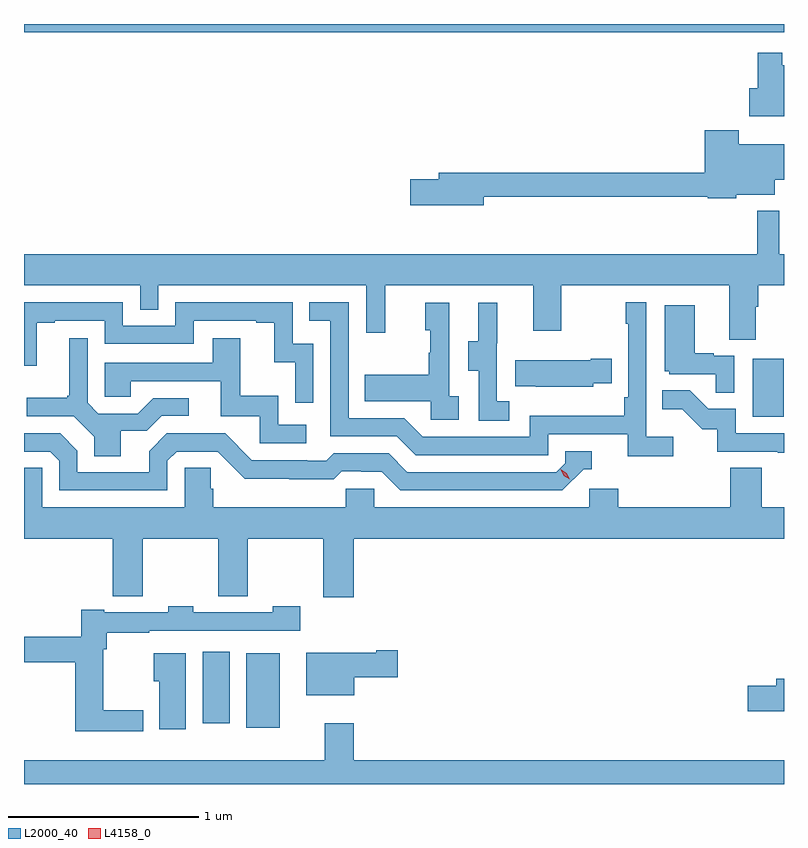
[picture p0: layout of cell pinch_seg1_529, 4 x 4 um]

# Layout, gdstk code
import gdstk
lib = gdstk.Library(unit=1e-6, precision=1e-09)
def R(c, l, rs):  # rectangles x0, y0, x1, y1
    for r in rs: c.add(gdstk.rectangle(r[:2], r[2:], *l))
def P(c, l, *ps):  # polygons
    for p in ps: c.add(gdstk.Polygon(p, *l))
L2000_40 = (2000, 40)
L4158_0 = (4158, 0)

pinch_seg1_529 = lib.new_cell('pinch_seg1_529')
R(pinch_seg1_529, L2000_40, [(1057.58,529.424,1057.756,529.816), (1057.349,529.449,1057.492,529.825), (1060.244,531.06,1060.408,531.367), (1056.409,533.084,1060.409,533.128)])
P(pinch_seg1_529, L2000_40, [(1060.409,532.912),(1060.399,532.912),(1060.399,532.978),(1060.27,532.978),(1060.27,532.791),(1060.226,532.791),(1060.226,532.643),(1060.409,532.643)],
  [(1058.83,532.218),(1060.008,532.218),(1060.008,532.21),(1060.158,532.21),(1060.158,532.229),(1060.36,532.229),(1060.36,532.307),(1060.409,532.307),(1060.409,532.495),(1060.17,532.495),(1060.17,532.57),(1059.992,532.57),(1059.992,532.346),(1058.591,532.346),(1058.591,532.31),(1058.442,532.31),(1058.442,532.175),(1058.83,532.175)],
  [(1060.261,531.64),(1060.274,531.64),(1060.274,531.752),(1060.409,531.752),(1060.409,531.916),(1060.385,531.916),(1060.385,532.144),(1060.267,532.144),(1060.267,531.916),(1056.409,531.916),(1056.409,531.752),(1057.02,531.752),(1057.02,531.625),(1057.116,531.625),(1057.116,531.752),(1058.211,531.752),(1058.211,531.504),(1058.309,531.504),(1058.309,531.752),(1059.089,531.752),(1059.089,531.513),(1059.237,531.513),(1059.237,531.752),(1060.121,531.752),(1060.121,531.466),(1060.261,531.466)],
  [(1059.826,530.956),(1059.684,530.956),(1059.684,531.664),(1059.576,531.664),(1059.576,531.551),(1059.588,531.551),(1059.588,531.163),(1059.568,531.163),(1059.568,531.067),(1059.072,531.067),(1059.072,530.955),(1058.508,530.955),(1058.409,531.054),(1058.118,531.054),(1058.118,531.663),(1057.909,531.663),(1057.909,531.567),(1058.022,531.567),(1058.022,530.958),(1058.372,530.958),(1058.471,530.859),(1059.168,530.859),(1059.168,530.97),(1059.587,530.97),(1059.587,530.854),(1059.826,530.854)],
  [(1057.932,531.444),(1057.824,531.444),(1057.824,531.663),(1057.206,531.663),(1057.206,531.54),(1056.93,531.54),(1056.93,531.663),(1056.409,531.663),(1056.409,531.329),(1056.475,531.329),(1056.475,531.555),(1056.571,531.555),(1056.571,531.567),(1056.834,531.567),(1056.834,531.444),(1057.302,531.444),(1057.302,531.567),(1057.631,531.567),(1057.631,531.555),(1057.727,531.555),(1057.727,531.347),(1057.836,531.347),(1057.836,531.135),(1057.932,531.135)],
  [(1058.962,531.143),(1058.898,531.143),(1058.898,531.447),(1058.9,531.447),(1058.9,531.661),(1058.801,531.661),(1058.801,531.459),(1058.747,531.459),(1058.747,531.304),(1058.802,531.304),(1058.802,531.04),(1058.962,531.04)],
  [(1058.698,531.17),(1058.646,531.17),(1058.646,531.661),(1058.522,531.661),(1058.522,531.516),(1058.548,531.516),(1058.548,531.398),(1058.538,531.398),(1058.538,531.283),(1058.203,531.283),(1058.203,531.143),(1058.55,531.143),(1058.55,531.045),(1058.698,531.045)],
  [(1060.146,531.381),(1060.04,531.381),(1060.04,531.394),(1059.94,531.394),(1059.94,531.649),(1059.782,531.649),(1059.782,531.3),(1059.804,531.3),(1059.804,531.285),(1060.051,531.285),(1060.051,531.187),(1060.146,531.187)],
  [(1056.919,530.986),(1057.054,530.986),(1057.134,531.066),(1057.276,531.066),(1057.276,531.159),(1057.088,531.159),(1057.007,531.078),(1056.801,531.078),(1056.744,531.135),(1056.744,531.475),(1056.647,531.475),(1056.647,531.172),(1056.636,531.172),(1056.636,531.16),(1056.423,531.16),(1056.423,531.063),(1056.672,531.063),(1056.779,530.956),(1056.779,530.854),(1056.919,530.854)],
  [(1057.894,531.018),(1057.746,531.018),(1057.746,531.172),(1057.547,531.172),(1057.547,531.475),(1057.403,531.475),(1057.403,531.345),(1056.834,531.345),(1056.834,531.165),(1056.971,531.165),(1056.971,531.249),(1057.445,531.249),(1057.445,531.063),(1057.65,531.063),(1057.65,530.922),(1057.894,530.922)],
  [(1059.405,531.236),(1059.503,531.236),(1059.503,531.366),(1059.392,531.366),(1059.392,531.358),(1058.995,531.358),(1058.995,531.221),(1059.103,531.221),(1059.103,531.218),(1059.405,531.218)],
  [(1060.409,530.973),(1060.155,530.973),(1060.155,531.102),(1060.011,531.102),(1059.913,531.2),(1059.769,531.2),(1059.769,531.101),(1059.873,531.101),(1059.98,530.994),(1060.057,530.994),(1060.057,530.877),(1060.375,530.877),(1060.375,530.872),(1060.409,530.872)],
  [(1057.164,530.829),(1057.212,530.877),(1057.428,530.877),(1057.57,530.735),(1057.806,530.735),(1057.806,530.733),(1058.039,530.733),(1058.081,530.775),(1058.184,530.775),(1058.184,530.772),(1058.291,530.772),(1058.39,530.673),(1059.243,530.673),(1059.354,530.784),(1059.397,530.784),(1059.397,530.88),(1059.258,530.88),(1059.258,530.817),(1059.21,530.769),(1058.427,530.769),(1058.328,530.868),(1058.039,530.868),(1058,530.829),(1057.901,530.829),(1057.901,530.832),(1057.608,530.832),(1057.467,530.973),(1057.161,530.973),(1057.067,530.879),(1057.067,530.769),(1056.69,530.769),(1056.69,530.883),(1056.6,530.973),(1056.409,530.973),(1056.409,530.877),(1056.546,530.877),(1056.594,530.829),(1056.594,530.673),(1057.164,530.673)],
  [(1058.144,530.42),(1060.409,530.42),(1060.409,530.584),(1060.292,530.584),(1060.292,530.792),(1060.127,530.792),(1060.127,530.584),(1059.536,530.584),(1059.536,530.682),(1059.384,530.682),(1059.384,530.584),(1058.253,530.584),(1058.253,530.682),(1058.103,530.682),(1058.103,530.584),(1057.406,530.584),(1057.406,530.682),(1057.391,530.682),(1057.391,530.792),(1057.254,530.792),(1057.254,530.584),(1056.504,530.584),(1056.504,530.792),(1056.409,530.792),(1056.409,530.42),(1056.875,530.42),(1056.875,530.116),(1057.034,530.116),(1057.034,530.42),(1057.432,530.42),(1057.432,530.116),(1057.586,530.116),(1057.586,530.42),(1057.984,530.42),(1057.984,530.112),(1058.144,530.112)],
  [(1057.036,529.516),(1056.826,529.516),(1056.826,529.838),(1056.845,529.838),(1056.845,529.923),(1057.067,529.923),(1057.067,529.935),(1057.864,529.935),(1057.864,530.064),(1057.719,530.064),(1057.719,530.031),(1057.299,530.031),(1057.299,530.064),(1057.167,530.064),(1057.167,530.031),(1056.832,530.031),(1056.832,530.044),(1056.709,530.044),(1056.709,529.904),(1056.409,529.904),(1056.409,529.768),(1056.68,529.768),(1056.68,529.406),(1057.036,529.406)],
  [(1058.146,529.69),(1058.377,529.69),(1058.377,529.832),(1058.264,529.832),(1058.264,529.819),(1057.895,529.819),(1057.895,529.595),(1058.146,529.595)],
  [(1057.261,529.816),(1057.091,529.816),(1057.091,529.669),(1057.121,529.669),(1057.121,529.416),(1057.261,529.416)],
  [(1060.409,529.682),(1060.367,529.682),(1060.367,529.646),(1060.218,529.646),(1060.218,529.511),(1060.409,529.511)],
  [(1060.409,529.252),(1058.144,529.252),(1058.144,529.447),(1057.991,529.447),(1057.991,529.252),(1056.409,529.252),(1056.409,529.128),(1060.409,529.128)])
P(pinch_seg1_529, L4158_0, [(1059.281,530.731),(1059.251,530.751),(1059.235,530.784),(1059.235,530.784),(1059.235,530.784),(1059.266,530.764),(1059.282,530.731),(1059.282,530.731)])

lib.write_gds('pinch_seg1_529.gds')
